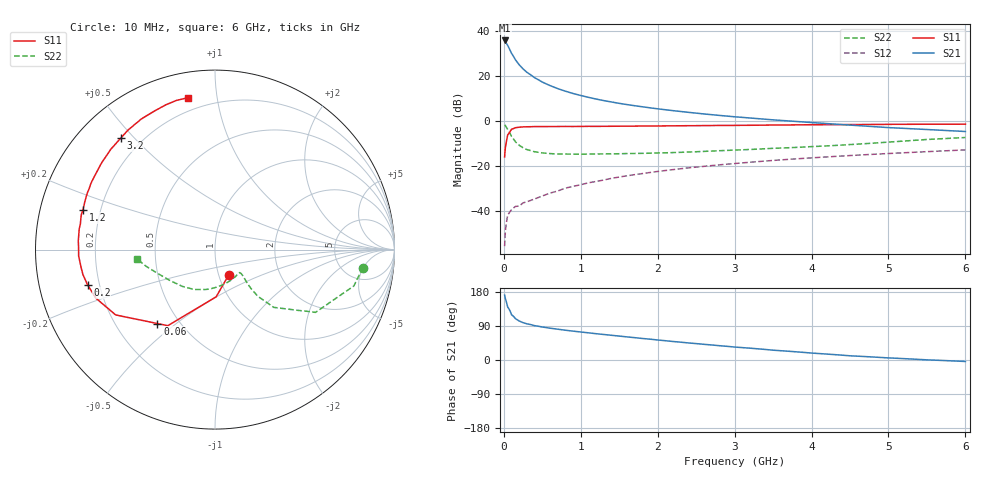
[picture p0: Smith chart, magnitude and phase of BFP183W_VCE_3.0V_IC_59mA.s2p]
! (c) 2017  Infineon Technologies AG, Munich
! Infineon Technologies  Discrete & RF Semiconductors
! BFP183W
! VCE =  3.0 V,  IC =  59 mA
! Common Emitter S-Parameters:  Jan 2017
# GHz  S  MA  R  50
!  f  S11  S21  S12  S22
! GHz  MAG  ANG  MAG  ANG  MAG  ANG  MAG  ANG
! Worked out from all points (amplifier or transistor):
!   77 points, 10 MHz to 6 GHz, reference 50 ohm
!   highest |S21| = 35.8 dB at 10 MHz (marker M1)
!   |S21| within 3 dB of that: start of sweep to 62.05 MHz
!   unconditionally stable (mu >= 1): start of sweep to 13.67 MHz; 339.7 MHz to 4.997 GHz
!   at 130 MHz: K = 0.57, MSG = 33.4 dB, |S12| = -38.3 dB
!   at 2.2 GHz: K = 1.21, MAG = 10.3 dB, |S12| = -21.4 dB
!   at 6 GHz: K = 0.96, MSG = 4.1 dB, |S12| = -12.7 dB
!   S11 on the Smith chart (normalised r, x): 10 MHz: 1.11, -0.33; 60 MHz: 0.38, -0.43; 200 MHz: 0.15, -0.13; 1.2 GHz: 0.13, +0.14; 3.2 GHz: 0.12, +0.46; 6 GHz: 0.13, +0.83
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0.01  0.1616 -62.1  61.67 171.2  0.0017 81.1  0.8304 -6.9
0.02  0.2632 -88.6  59.29 161.7  0.0037 82.5  0.7995 -14.7
0.05  0.4988 -121.8  47.91 139.8  0.0083 54.7  0.6603 -32.0
0.06  0.5222 -127.9  44.38 136.9  0.0088 53.5  0.6182 -33.8
0.1  0.6625 -146.7  31.98 119.4  0.0109 49.7  0.4593 -44.5
0.15  0.7172 -157.9  23.07 109.3  0.0129 44.6  0.3509 -47.5
0.2  0.7368 -164.6  17.79 102.9  0.0132 47.1  0.2926 -47.2
0.25  0.7488 -169.3  14.44 98.5  0.0155 49.3  0.2575 -46.1
0.3  0.7527 -172.4  12.13 95.5  0.0164 51.4  0.2351 -44.8
0.4  0.7605 -177.3  9.201 90.6  0.0189 56.5  0.2105 -43.1
0.5  0.7601 179.2  7.374 87.1  0.022 59.7  0.1985 -42.5
0.7  0.7634 173.9  5.286 81.3  0.0284 64.0  0.1878 -43.0
0.9  0.7636 169.2  4.112 76.2  0.036 67.0  0.1862 -46.1
1.1  0.7699 165.3  3.381 71.7  0.0432 68.7  0.1872 -49.8
1.2  0.7686 163.3  3.099 69.4  0.0462 68.5  0.1878 -51.8
1.6  0.7781 156.1  2.339 61.0  0.0617 68.7  0.1921 -61.6
2.1  0.7873 147.3  1.797 50.9  0.0808 67.4  0.1996 -76.3
3.1  0.8105 131.8  1.216 32.7  0.1192 61.7  0.2326 -107.0
3.2  0.813 130.3  1.178 31.2  0.1232 61.1  0.2363 -109.8
4.1  0.8364 118.2  0.911 17.0  0.158 54.8  0.2784 -134.5
5.1  0.8529 107.8  0.708 4.6  0.1961 47.1  0.3537 -159.2
6  0.8596 100.0  0.591 -3.9  0.2312 39.7  0.4356 -172.8
